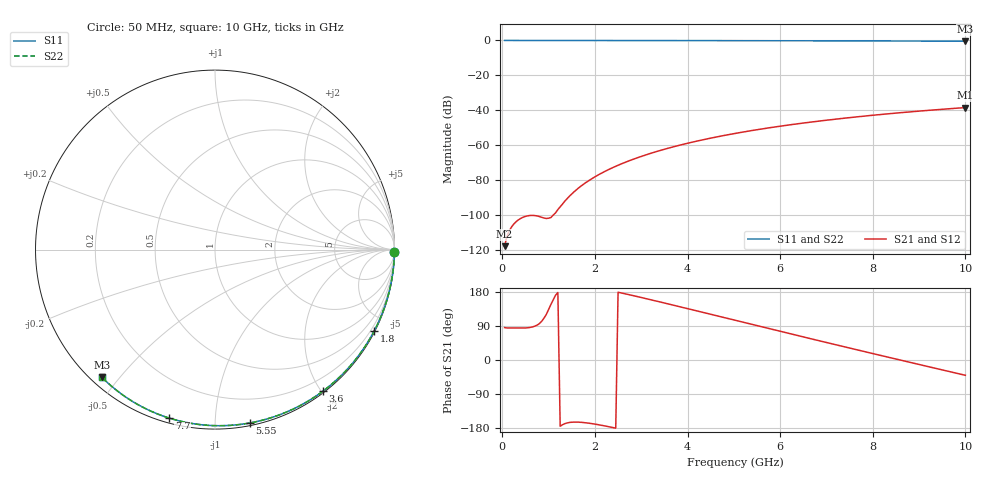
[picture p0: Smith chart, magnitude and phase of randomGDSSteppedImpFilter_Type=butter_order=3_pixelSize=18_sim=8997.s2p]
! freq	dB(S11)	phase(S11)	dB(S12)	phase(S12)
!  dB(S21)	phase(S21)	dB(S22)	phase(S22)
!S-par simulation data
#  GHz  S  DB  R 50
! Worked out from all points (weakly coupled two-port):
!   200 points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, 50 MHz to 10 GHz, reference 50 ohm
!   highest |S21| = -38.42 dB at 10 GHz (marker M1); lowest = -117.7 dB at 50 MHz (marker M2)
!   lowest |S11| = -0.4 dB at 10 GHz (marker M3), VSWR 39.11, Z = 1.54 - j22.5 ohm
!   |S11| at or under -10 dB: nowhere
!   |S22| runs from -0.4 to 0.0 dB; largest |S21 - S12| = 0
!   S11 on the Smith chart (normalised r, x): 50 MHz: open; 1.8 GHz: 0.04, -4.17; 3.6 GHz: 0.02, -2.02; 5.55 GHz: 0.02, -1.22; 7.7 GHz: 0.02, -0.77; 10 GHz: 0.03, -0.45
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0.05  -0.00 -0.8  -117.73 85.5  -117.73 85.5  -0.00 -0.8
0.9  -0.02 -13.6  -101.62 110.4  -101.62 110.4  -0.02 -13.6
1.75  -0.03 -26.2  -82.35 -165.0  -82.35 -165.0  -0.03 -26.2
1.8  -0.03 -27.0  -81.41 -165.6  -81.41 -165.6  -0.03 -27.0
1.85  -0.04 -27.7  -80.52 -166.4  -80.52 -166.4  -0.04 -27.7
1.9  -0.04 -28.4  -79.66 -167.3  -79.66 -167.3  -0.04 -28.4
2.05  -0.04 -30.6  -77.28 -170.2  -77.28 -170.2  -0.04 -30.6
2.25  -0.04 -33.5  -74.48 -174.8  -74.48 -174.8  -0.04 -33.5
2.45  -0.05 -36.4  -72.00 -179.9  -72.00 -179.9  -0.05 -36.4
2.65  -0.05 -39.3  -69.77 174.8  -69.77 174.8  -0.05 -39.3
3  -0.06 -44.3  -66.36 165.0  -66.36 165.0  -0.06 -44.3
3.4  -0.07 -49.9  -63.02 153.4  -63.02 153.4  -0.07 -49.9
3.6  -0.07 -52.7  -61.53 147.5  -61.53 147.5  -0.07 -52.7
4.3  -0.09 -62.3  -57.02 126.6  -57.02 126.6  -0.09 -62.3
5.05  -0.11 -72.2  -53.10 104.2  -53.10 104.2  -0.11 -72.3
5.55  -0.13 -78.7  -50.87 89.2  -50.87 89.2  -0.13 -78.7
6.1  -0.15 -85.7  -48.69 72.8  -48.69 72.8  -0.15 -85.7
6.7  -0.18 -93.1  -46.59 55.0  -46.59 55.0  -0.18 -93.1
7.7  -0.24 -105.1  -43.60 25.7  -43.60 25.7  -0.24 -105.1
8.35  -0.29 -112.7  -41.93 6.8  -41.93 6.8  -0.29 -112.7
9.15  -0.36 -121.9  -40.11 -16.1  -40.11 -16.1  -0.36 -121.9
10  -0.44 -131.5  -38.42 -40.4  -38.42 -40.4  -0.44 -131.5
